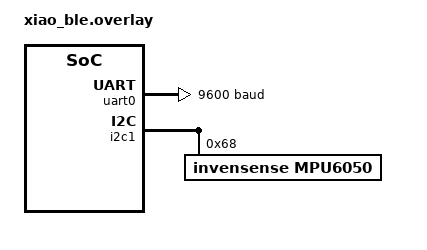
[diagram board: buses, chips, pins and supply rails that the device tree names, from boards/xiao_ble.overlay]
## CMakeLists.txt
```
#
# Reconfigurable swarm module — OpenThread + CoAP swarm overlay.
#
# SPDX-License-Identifier: LicenseRef-Nordic-5-Clause
#

cmake_minimum_required(VERSION 3.20.0)

find_package(Zephyr REQUIRED HINTS $ENV{ZEPHYR_BASE})

project(swarm_node)

FILE(GLOB app_sources src/*.c)
target_sources(app PRIVATE ${app_sources})

# The shared wire-protocol header lives one level up so the host-side Python
# codec (proto/swarm_proto.py) and this firmware stay in lockstep.
target_include_directories(app PRIVATE src ${CMAKE_CURRENT_SOURCE_DIR}/../proto)
```

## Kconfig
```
#
# Copyright (c) 2024 Nordic Semiconductor ASA
#
# SPDX-License-Identifier: LicenseRef-Nordic-5-Clause
#

menu "Zephyr Kernel"
source "Kconfig.zephyr"
endmenu

menu "Swarm node configuration"

config SWARM_NODE_NAME
	string "Module display name"
	default "swarm-node"
	help
	  Human-readable name shown in the Olympus command center.

config SWARM_ATTACHED_TO
	string "Vehicle this module is attached to"
	default ""
	help
	  Vehicle id the module currently rides on. Empty means standalone.
	  Can be changed at runtime via the SET_MOUNT command.

config SWARM_FW_VERSION
	int "Firmware version reported in HELLO"
	default 1

config SWARM_ROLE_PROVIDER
	bool "Contributes sensor data to the swarm"
	default y

config SWARM_ROLE_CONSUMER
	bool "Consumes swarm information"
	default n

config SWARM_ROLE_RELAY
	bool "Relays traffic for neighbors"
	default y

config SWARM_MOUNT_VEHICLE
	bool "Mounted on a vehicle (else standalone)"
	default n

# --- capability / permission model (advertised in HELLO, see swarm_capability) ---
# Defaults make a vehicle "active" (autonomous + overridable) and a standalone
# module "passive" (transmits its sensors, accepts no action commands).

config SWARM_CAP_AUTONOMOUS
	bool "Active: runs decentralized mission policy on its Jetson"
	default y if SWARM_MOUNT_VEHICLE
	default n

config SWARM_CAP_OVERRIDABLE
	bool "Active: accepts overriding action commands from a trusted leader"
	default y if SWARM_MOUNT_VEHICLE
	default n

config SWARM_CAP_PASSIVE_RX
	bool "Passive: receive-only swarm member (no action authority)"
	default y if !SWARM_MOUNT_VEHICLE && !SWARM_GATEWAY
	default n

config SWARM_CAP_BEACON_TX
	bool "Passive beacon / waypoint station (transmits its sensors only)"
	default n

config SWARM_CAP_RELAY_ONLY
	bool "Forwards traffic only (no sensing or acting)"
	default n

config SWARM_GATEWAY
	bool "Build as the command-station gateway"
	default n
	help
	  Bridge the mesh to the Olympus host over serial instead of acting as a
	  swarm member. Forwards every received module message to the host and
	  injects route/cmd downlink back into the mesh.

config SWARM_FORWARD_PEERS
	bool "Forward peer telemetry to the Jetson (for peer-range fusion)"
	default y if !SWARM_GATEWAY
	default n
	help
	  A plain node mirrors the peer HELLO/TELEMETRY it hears on the mesh to its
	  Jetson (tagged RELAYED so the agent never mistakes them for its own), so
	  the Jetson EKF can use nearby peers (<= 50 m) as range constraints. Costs a
	  little serial bandwidth; harmless if the node has no Jetson.

config SWARM_LEADER
	bool "Build as the base-station leader"
	default n
	help
	  The leader is a gateway that ALSO senses (its own GPS/IMU EKF, as a fleet
	  position anchor) and can broadcast override commands fleet-wide. Implies
	  gateway bridging; additionally announces/streams telemetry and tags its
	  frames SWARM_FLAG_LEADER so overridable nodes accept its commands. Enable
	  together with SWARM_GATEWAY (see overlay-leader.conf).

endmenu

module = SWARM_NODE
module-str = Swarm node
source "$(ZEPHYR_BASE)/subsys/logging/Kconfig.template.log_config"
```

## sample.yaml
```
sample:
  description: Reconfigurable swarm module with Olympus CoAP overlay
  name: Olympus Swarm Node

tests:
  sample.swarm.node:
    sysbuild: true
    build_only: true
    tags:
      - ci_build
      - sysbuild
      - ci_samples_openthread
    platform_allow:
      - nrf52840dk/nrf52840
      - xiao_ble
    integration_platforms:
      - nrf52840dk/nrf52840
  sample.swarm.gateway:
    sysbuild: true
    build_only: true
    extra_args: >
      EXTRA_CONF_FILE="overlay-gateway.conf"
    tags:
      - ci_build
      - sysbuild
      - ci_samples_openthread
    platform_allow:
      - nrf52840dk/nrf52840
      - xiao_ble
    integration_platforms:
      - nrf52840dk/nrf52840
```

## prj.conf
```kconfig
#
# Reconfigurable swarm module — base configuration (plain node).
#
# For the command-station gateway, add the overlay:
#   west build -b xiao_ble . -- -DEXTRA_CONF_FILE=overlay-gateway.conf
#
# SPDX-License-Identifier: LicenseRef-Nordic-5-Clause
#

# --- OpenThread mesh (same network as the original coap samples) ---
CONFIG_OPENTHREAD=y
CONFIG_OPENTHREAD_COAP=y
CONFIG_OPENTHREAD_FTD=y
CONFIG_OPENTHREAD_NETWORKKEY="00:11:22:33:44:55:66:77:88:99:aa:bb:cc:dd:ee:ff"
CONFIG_NETWORKING=y
CONFIG_NET_SOCKETS=y

# --- Shell / console / logs on SEGGER RTT, OFF the USB data channel ---
# The single USB CDC ACM port is the swarm data link (binary frames), so the ot
# shell + console + logs move to RTT (view with an SWD probe). This mirrors the
# proven coap_server config on this NCS; the board's USB device_next stack
# auto-enables the CDC at boot, so the firmware never calls usb_enable() itself.
CONFIG_SHELL=y
CONFIG_OPENTHREAD_SHELL=y
CONFIG_SHELL_ARGC_MAX=26
CONFIG_SHELL_CMD_BUFF_SIZE=416
CONFIG_SHELL_BACKEND_SERIAL=n
CONFIG_SHELL_BACKEND_RTT=y
CONFIG_USE_SEGGER_RTT=y
CONFIG_LOG=y
CONFIG_LOG_PRINTK=y
CONFIG_UART_CONSOLE=n
CONFIG_LOG_BACKEND_UART=n

# --- nRF board library (LEDs / buttons) ---
CONFIG_DK_LIBRARY=y

# --- modular sensor stack (probed at boot; absent parts degrade gracefully) ---
# The IMU is auto-detected at runtime (sensors.c): an MPU-6050 (via the Zephyr
# driver below, 0x68) OR a BNO055 (0x28, read by src/bno055.c over direct I2C —
# NCS ships no BNO055 driver). Both can stay wired; the firmware uses whichever
# answers. Keep CONFIG_MPU6050 for the MPU path; the BNO055 needs only CONFIG_I2C.
CONFIG_SENSOR=y
CONFIG_I2C=y
CONFIG_MPU6050=y          # Adafruit MPU-6050 6-DoF IMU (invensense,mpu6050 @ 0x68)
CONFIG_SERIAL=y
CONFIG_UART_INTERRUPT_DRIVEN=y

# --- USB-CDC data link to the Jetson / Olympus host (board_cdc_acm_uart) ---
# The board's defconfig selects the modern USB device_next stack and enables the
# single CDC ACM instance at boot; we just make the class explicit + line control.
CONFIG_USB_DEVICE_STACK_NEXT=y
CONFIG_USBD_CDC_ACM_CLASS=y
CONFIG_UART_LINE_CTRL=y
CONFIG_CDC_ACM_SERIAL_PRODUCT_STRING="Olympus Swarm Node"
CONFIG_RING_BUFFER=y

# --- runtime knobs used by the cmd channel ---
CONFIG_REBOOT=y

# --- floating point for ranging / dead-reckoning math + log formatting ---
CONFIG_FPU=y
CONFIG_CBPRINTF_FP_SUPPORT=y

# --- stacks / storage sized for networking ---
CONFIG_MAIN_STACK_SIZE=4096
CONFIG_PM_PARTITION_SIZE_SETTINGS_STORAGE=0x8000
CONFIG_MBEDTLS_SHA1_C=n

# --- give the host 5 s to enumerate the USB CDC port after reset ---
CONFIG_BOOT_DELAY=5000
```

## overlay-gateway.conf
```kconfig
#
# Command-station gateway overlay.
#
# Flash this build onto the nRF wired to the Olympus host. It joins the same
# Thread mesh, hears every module's realm-local multicast, forwards it out the
# serial data link to olympus_link, and injects route/cmd downlink from the host
# back into the mesh. It does not announce itself as a swarm member.
#
#   west build -b xiao_ble . -- -DEXTRA_CONF_FILE=overlay-gateway.conf
#
# SPDX-License-Identifier: LicenseRef-Nordic-5-Clause
#

CONFIG_SWARM_GATEWAY=y
CONFIG_SWARM_NODE_NAME="gateway"
CONFIG_SWARM_ROLE_PROVIDER=n
CONFIG_SWARM_ROLE_CONSUMER=n
CONFIG_SWARM_ROLE_RELAY=y
```

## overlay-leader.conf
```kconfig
# Base-station leader build.
#
#   ./build.sh --leader
#
# The leader bridges the mesh to the Olympus host (like the gateway) AND carries
# its own GPS/IMU so it appears as a fleet position anchor, AND may broadcast
# override commands. It is infrastructure, not an overridable vehicle.

CONFIG_SWARM_GATEWAY=y
CONFIG_SWARM_LEADER=y

CONFIG_SWARM_NODE_NAME="leader"
CONFIG_SWARM_MOUNT_VEHICLE=n
CONFIG_SWARM_CAP_OVERRIDABLE=n
CONFIG_SWARM_CAP_AUTONOMOUS=n
CONFIG_SWARM_CAP_PASSIVE_RX=n
CONFIG_SWARM_FORWARD_PEERS=n
```

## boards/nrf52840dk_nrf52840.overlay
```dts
/*
 * nRF52840 DK — swarm module wiring.
 *
 * The DK's console/shell stays on the on-board UART (J-Link VCOM). This overlay
 * adds a USB CDC-ACM function as the dedicated swarm data link to the Jetson
 * (agent) or the Olympus host (gateway): /dev/ttyACM* after flashing.
 *
 * Sensor nodes are modular; uncomment to match the populated parts.
 *
 * SPDX-License-Identifier: LicenseRef-Nordic-5-Clause
 */

&zephyr_udc0 {
	cdc_acm_swarm: cdc_acm_swarm {
		compatible = "zephyr,cdc-acm-uart";
	};
};

/ {
	chosen {
		swarm,serial = &cdc_acm_swarm;
		/* swarm,imu = &lsm6dsl; */
		/* swarm,gps-uart = &uart1; */
	};
};

/* Example IMU on i2c0 (P0.26/P0.27 on the DK). Adjust to the real part.
&i2c0 {
	status = "okay";
	lsm6dsl: lsm6dsl@6a {
		compatible = "st,lsm6dsl";
		reg = <0x6a>;
	};
};
*/

/* Example GPS NMEA receiver on uart1.
&uart1 {
	status = "okay";
	current-speed = <9600>;
};
*/
```

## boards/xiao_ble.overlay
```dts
/*
 * Seeed XIAO nRF52840 — swarm module wiring.
 *
 * The board's single USB CDC-ACM (board_cdc_acm_uart, modern device_next stack,
 * auto-enabled at boot) is the swarm data link to the Jetson (node) or the
 * Olympus host (gateway/leader); the console/shell/logs ride SEGGER RTT (see
 * prj.conf), exactly like the proven coap_server. The GPS rides the hardware
 * UART (uart0 on D6/D7) and the IMU the I2C bus (i2c1 on D4/D5).
 *
 * Hardware on this build:
 *   - IMU: Adafruit MPU-6050 6-DoF (STEMMA QT / I2C) @ 0x68 on i2c1 (D4/D5).
 *   - GPS: Adafruit Ultimate GPS Breakout v3 (NMEA) @ 9600 on uart0 (D6/D7).
 * Absent sensors leave their HELLO bit clear and the EKF runs with fewer inputs.
 *
 * SPDX-License-Identifier: LicenseRef-Nordic-5-Clause
 */

/* GPS: Adafruit Ultimate GPS v3, NMEA over the hardware UART
 * (XIAO D7=RX/P1.12 <- GPS TX, D6=TX/P1.11 -> GPS RX). */
&uart0 {
	status = "okay";
	current-speed = <9600>;
};

/* IMU on the XIAO's D4/D5 (STEMMA QT) pins = i2c1 (SDA=P0.04/D4, SCL=P0.05/D5),
 * which the board already enables with pinctrl, so we just attach devices.
 *
 * sensors.c AUTO-DETECTS the IMU at boot, so both supported parts can stay wired
 * up and the firmware picks whichever actually answers:
 *   - MPU-6050  @ 0x68  (AD0 low) — bound by the Zephyr invensense,mpu6050 driver
 *   - BNO055    @ 0x28  (default) — read over direct I2C by bno055.c (no Zephyr
 *                                   driver exists), via the swarm,imu-i2c chosen
 * The MPU-6050 node below is harmless when absent: its driver init just fails and
 * device_is_ready() returns false, and auto-detect falls through to the BNO055. */
&i2c1 {
	mpu6050: mpu6050@68 {
		compatible = "invensense,mpu6050";
		reg = <0x68>;
		/* int-gpios = <&gpio0 N GPIO_ACTIVE_HIGH>;  // optional data-ready INT */
	};
};

/ {
	chosen {
		swarm,serial = &board_cdc_acm_uart;
		swarm,imu = &mpu6050;   /* MPU-6050 path (Zephyr sensor API)        */
		swarm,imu-i2c = &i2c1;  /* bus for direct-I2C IMUs (BNO055 @ 0x28)  */
		swarm,gps-uart = &uart0;
	};
};
```

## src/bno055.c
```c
/*
 * bno055.c — direct-I2C Bosch BNO055 driver (see bno055.h).
 *
 * The BNO055 has its own fusion MCU, so we let it do the 9-DoF fusion (NDOF)
 * and read back: LINEAR_ACCEL (gravity removed, m/s^2), GYRO (yaw rate), and the
 * EULER heading (absolute, magnetometer-corrected). Units are left at the chip
 * defaults (accel m/s^2, gyro dps, euler deg) and converted here so the math is
 * explicit. All register addresses are page 0.
 *
 * SPDX-License-Identifier: LicenseRef-Nordic-5-Clause
 */

#include <zephyr/kernel.h>
#include <zephyr/device.h>
#include <zephyr/devicetree.h>
#include <zephyr/drivers/i2c.h>
#include <zephyr/logging/log.h>

#include "bno055.h"

LOG_MODULE_REGISTER(swarm_bno055, CONFIG_SWARM_NODE_LOG_LEVEL);

#if DT_HAS_CHOSEN(swarm_imu_i2c)
#define HAVE_BUS 1
static const struct device *const bus = DEVICE_DT_GET(DT_CHOSEN(swarm_imu_i2c));
#else
#define HAVE_BUS 0
#endif

/* --- BNO055 register map (page 0) --- */
#define BNO_ADDR_PRIMARY    0x28
#define BNO_ADDR_ALT        0x29
#define REG_CHIP_ID         0x00
#define CHIP_ID_VAL         0xA0
#define REG_PAGE_ID         0x07
#define REG_GYR_DATA_X_LSB  0x14   /* 6 bytes: X,Y,Z int16 LE */
#define REG_EUL_HEAD_LSB    0x1A   /* 2 bytes: heading int16 LE */
#define REG_LIA_DATA_X_LSB  0x28   /* 6 bytes: X,Y,Z int16 LE */
#define REG_CALIB_STAT      0x35   /* SYS[7:6] GYR[5:4] ACC[3:2] MAG[1:0] */
#define REG_UNIT_SEL        0x3B
#define REG_OPR_MODE        0x3D
#define REG_PWR_MODE        0x3E
#define REG_SYS_TRIGGER     0x3F

#define OPR_CONFIGMODE      0x00
#define OPR_NDOF            0x0C
#define PWR_NORMAL          0x00

/* scaling (chip defaults) */
#define LIA_LSB_PER_MS2     100.0f   /* linear accel: 1 m/s^2 = 100 LSB */
#define GYR_LSB_PER_DPS     16.0f    /* gyro: 1 dps = 16 LSB            */
#define EUL_LSB_PER_DEG     16.0f    /* euler: 1 deg = 16 LSB           */
#define DEG2RAD             0.017453292519943295f

static uint8_t dev_addr;
static bool    ready;

#if HAVE_BUS
static int16_t le16(const uint8_t *p)
{
	return (int16_t)((uint16_t)p[0] | ((uint16_t)p[1] << 8));
}

static bool probe_addr(uint8_t addr)
{
	uint8_t id = 0;

	/* The BNO055 needs ~650 ms after power-on before CHIP_ID reads back; we
	 * boot well after that, but retry a few times to be safe. */
	for (int i = 0; i < 12; i++) {
		if (i2c_reg_read_byte(bus, addr, REG_CHIP_ID, &id) == 0 &&
		    id == CHIP_ID_VAL) {
			dev_addr = addr;
			return true;
		}
		k_msleep(50);
	}
	return false;
}
#endif /* HAVE_BUS */

bool bno055_init(void)
{
#if !HAVE_BUS
	return false;
#else
	if (!device_is_ready(bus)) {
		return false;
	}
	if (!probe_addr(BNO_ADDR_PRIMARY) && !probe_addr(BNO_ADDR_ALT)) {
		return false;
	}

	/* CONFIGMODE -> page 0, normal power, default units, NDOF fusion. */
	(void)i2c_reg_write_byte(bus, dev_addr, REG_OPR_MODE, OPR_CONFIGMODE);
	k_msleep(25);
	(void)i2c_reg_write_byte(bus, dev_addr, REG_PAGE_ID, 0x00);
	(void)i2c_reg_write_byte(bus, dev_addr, REG_PWR_MODE, PWR_NORMAL);
	k_msleep(10);
	(void)i2c_reg_write_byte(bus, dev_addr, REG_UNIT_SEL, 0x00); /* m/s^2, dps, deg */
	(void)i2c_reg_write_byte(bus, dev_addr, REG_SYS_TRIGGER, 0x00);
	k_msleep(10);
	(void)i2c_reg_write_byte(bus, dev_addr, REG_OPR_MODE, OPR_NDOF);
	k_msleep(25); /* CONFIG -> NDOF takes ~7 ms */

	ready = true;
	LOG_INF("BNO055 found @ 0x%02x, NDOF fusion mode", dev_addr);
	return true;
#endif
}

bool bno055_present(void)
{
	return ready;
}

bool bno055_read(struct bno055_sample *s)
{
#if !HAVE_BUS
	(void)s;
	return false;
#else
	uint8_t b[6];

	if (!ready) {
		return false;
	}
	s->ax = s->ay = s->gyro_z = 0.0f;
	s->heading_rad = 0.0f;
	s->heading_valid = false;
	s->mag_calib = 0;
	s->sys_calib = 0;

	/* linear acceleration (gravity removed), body X/Y */
	if (i2c_burst_read(bus, dev_addr, REG_LIA_DATA_X_LSB, b, 6) != 0) {
		return false;
	}
	s->ax = le16(&b[0]) / LIA_LSB_PER_MS2;
	s->ay = le16(&b[2]) / LIA_LSB_PER_MS2;

	/* gyro Z = yaw rate */
	if (i2c_burst_read(bus, dev_addr, REG_GYR_DATA_X_LSB, b, 6) != 0) {
		return false;
	}
	s->gyro_z = (le16(&b[4]) / GYR_LSB_PER_DPS) * DEG2RAD;

	/* absolute heading (Euler) — trustworthy once the magnetometer calibrates */
	if (i2c_burst_read(bus, dev_addr, REG_EUL_HEAD_LSB, b, 2) == 0) {
		s->heading_rad = (le16(&b[0]) / EUL_LSB_PER_DEG) * DEG2RAD;
		s->heading_valid = true;
	}

	/* calibration status: gate the heading update on a calibrated magnetometer */
	uint8_t cal = 0;
	if (i2c_reg_read_byte(bus, dev_addr, REG_CALIB_STAT, &cal) == 0) {
		s->mag_calib = cal & 0x03;
		s->sys_calib = (cal >> 6) & 0x03;
	}
	return true;
#endif
}
```

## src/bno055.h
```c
/*
 * bno055.h — minimal direct-I2C driver for the Bosch BNO055 9-DoF IMU.
 *
 * Zephyr/NCS ships no BNO055 driver (it's a fusion sensor with an onboard
 * Cortex-M0), so this talks to it directly over the chosen IMU I2C bus
 * (chosen { swarm,imu-i2c }). It runs the chip in NDOF fusion mode and reads
 * the gravity-free LINEAR acceleration + yaw rate the EKF wants, plus the
 * magnetometer-corrected absolute heading (a bonus the MPU-6050 cannot give).
 *
 * SPDX-License-Identifier: LicenseRef-Nordic-5-Clause
 */

#ifndef SWARM_BNO055_H__
#define SWARM_BNO055_H__

#include <stdbool.h>
#include <stdint.h>

/* One IMU sample, already normalised to the EKF's units/frame expectations. */
struct bno055_sample {
	float ax;            /* linear (gravity-free) body accel X, m/s^2  */
	float ay;            /* linear (gravity-free) body accel Y, m/s^2  */
	float gyro_z;        /* yaw rate, rad/s                            */
	float heading_rad;   /* absolute heading (compass, from North), rad */
	bool  heading_valid; /* the Euler heading read succeeded           */
	uint8_t mag_calib;   /* magnetometer calib 0..3 (heading trust)    */
	uint8_t sys_calib;   /* overall fusion calib 0..3                  */
};

/* Probe the chosen IMU I2C bus for a BNO055 (addr 0x28, then 0x29) and, if
 * found, configure it into NDOF fusion mode. Returns true on success. */
bool bno055_init(void);

/* True once bno055_init() has found and configured a chip. */
bool bno055_present(void);

/* Read one sample. Returns true on a clean I2C read, false otherwise. */
bool bno055_read(struct bno055_sample *s);

#endif /* SWARM_BNO055_H__ */
```

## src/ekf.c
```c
/*
 * ekf.c — loosely-coupled GPS+IMU EKF (planar core, 3D-ready). See ekf.h.
 *
 * Covariance is propagated with generic 5x5 matrix products (two ~125-mul
 * passes per predict — trivial for the M4F at <=200 Hz, and far less bug-prone
 * than a hand-expanded sparse form). Measurement updates are specialised to the
 * "H selects one or two states" case, which every measurement here fits, so the
 * gain reduces to a closed-form 1x1 / 2x2 solve with no general inverse.
 *
 * SPDX-License-Identifier: LicenseRef-Nordic-5-Clause
 */

#include <math.h>
#include <string.h>

#include "ekf.h"

#define MPD_LAT        111320.0f      /* meters per degree of latitude */
#define DEG2RAD        0.017453292f
#define RAD2DEG        57.29578f
#define PI_F           3.14159265f
#define TWO_PI_F       6.28318531f

/* Default tuning. */
#define Q_ACCEL_DEF    1.0f           /* (m/s^2)^2/s */
#define Q_GYRO_DEF     0.05f          /* (rad/s)^2/s */
#define R_GPS_VEL      0.25f          /* (m/s)^2, GPS velocity meas var */
#define R_GPS_HDG_DEG2 100.0f         /* deg^2, heading-from-course meas var */
#define ZUPT_R         0.01f          /* (m/s)^2, zero-velocity meas var */
#define GPS_VEL_HDG_MIN 0.7f          /* m/s; below this course is meaningless */
#define P_DIAG_MIN     1e-6f
#define CONVERGE_STD_M 10.0f

#define IDX(r, c) ((r) * EKF_NX + (c))

/* --- small helpers --- */

static float wrap_pi(float a)
{
	while (a > PI_F) {
		a -= TWO_PI_F;
	}
	while (a < -PI_F) {
		a += TWO_PI_F;
	}
	return a;
}

/* Re-symmetrise P and floor its diagonal to keep it positive in single precision. */
static void p_condition(struct ekf_state *s)
{
	float *P = s->P;

	for (int i = 0; i < EKF_NX; i++) {
		for (int j = i + 1; j < EKF_NX; j++) {
			float avg = 0.5f * (P[IDX(i, j)] + P[IDX(j, i)]);
			P[IDX(i, j)] = avg;
			P[IDX(j, i)] = avg;
		}
		if (P[IDX(i, i)] < P_DIAG_MIN) {
			P[IDX(i, i)] = P_DIAG_MIN;
		}
	}
}

/* o = a * b (5x5). o must not alias a or b. */
static void mat5_mul(float *o, const float *a, const float *b)
{
	for (int i = 0; i < EKF_NX; i++) {
		for (int j = 0; j < EKF_NX; j++) {
			float sum = 0.0f;
			for (int k = 0; k < EKF_NX; k++) {
				sum += a[IDX(i, k)] * b[IDX(k, j)];
			}
			o[IDX(i, j)] = sum;
		}
	}
}

/* o = a * b^T (5x5). o must not alias a or b. */
static void mat5_mul_abt(float *o, const float *a, const float *b)
{
	for (int i = 0; i < EKF_NX; i++) {
		for (int j = 0; j < EKF_NX; j++) {
			float sum = 0.0f;
			for (int k = 0; k < EKF_NX; k++) {
				sum += a[IDX(i, k)] * b[IDX(j, k)];
			}
			o[IDX(i, j)] = sum;
		}
	}
}

/* EKF update where H selects a single state component `idx`. */
static void update1(struct ekf_state *s, int idx, float z, float r, bool is_angle)
{
	float *P = s->P;
	float y = z - s->x[idx];

	if (is_angle) {
		y = wrap_pi(y);
	}
	float S = P[IDX(idx, idx)] + r;
	if (S < 1e-9f) {
		return;
	}
	float K[EKF_NX];
	for (int k = 0; k < EKF_NX; k++) {
		K[k] = P[IDX(k, idx)] / S;
	}
	for (int k = 0; k < EKF_NX; k++) {
		s->x[k] += K[k] * y;
	}
	float hp[EKF_NX];
	for (int c = 0; c < EKF_NX; c++) {
		hp[c] = P[IDX(idx, c)];
	}
	for (int rr = 0; rr < EKF_NX; rr++) {
		for (int c = 0; c < EKF_NX; c++) {
			P[IDX(rr, c)] -= K[rr] * hp[c];
		}
	}
	if (is_angle) {
		s->x[EKF_PSI] = wrap_pi(s->x[EKF_PSI]);
	}
	p_condition(s);
}

/* EKF update where H selects two state components (i, j). */
static void update2(struct ekf_state *s, int i, int j,
		    float z0, float z1, float r0, float r1)
{
	float *P = s->P;
	float y0 = z0 - s->x[i];
	float y1 = z1 - s->x[j];

	/* S = H P H^T + R (2x2). */
	float s00 = P[IDX(i, i)] + r0;
	float s01 = P[IDX(i, j)];
	float s10 = P[IDX(j, i)];
	float s11 = P[IDX(j, j)] + r1;
	float det = s00 * s11 - s01 * s10;
	if (fabsf(det) < 1e-9f) {
		return;
	}
	float invd = 1.0f / det;
	float si00 =  s11 * invd, si01 = -s01 * invd;
	float si10 = -s10 * invd, si11 =  s00 * invd;

	/* K = P H^T S^-1 (5x2); P H^T = columns i,j of P. */
	float K[EKF_NX][2];
	for (int k = 0; k < EKF_NX; k++) {
		float a = P[IDX(k, i)], b = P[IDX(k, j)];
		K[k][0] = a * si00 + b * si10;
		K[k][1] = a * si01 + b * si11;
	}
	for (int k = 0; k < EKF_NX; k++) {
		s->x[k] += K[k][0] * y0 + K[k][1] * y1;
	}
	/* P -= K (H P); H P = rows i,j of P. Snapshot them first. */
	float hpi[EKF_NX], hpj[EKF_NX];
	for (int c = 0; c < EKF_NX; c++) {
		hpi[c] = P[IDX(i, c)];
		hpj[c] = P[IDX(j, c)];
	}
	for (int rr = 0; rr < EKF_NX; rr++) {
		for (int c = 0; c < EKF_NX; c++) {
			P[IDX(rr, c)] -= K[rr][0] * hpi[c] + K[rr][1] * hpj[c];
		}
	}
	p_condition(s);
}

/* --- public API --- */

void ekf_init(struct ekf_state *s)
{
	memset(s, 0, sizeof(*s));
	float *P = s->P;
	/* Large initial position/heading uncertainty, modest velocity. */
	P[IDX(EKF_PN, EKF_PN)] = 1.0e6f;
	P[IDX(EKF_PE, EKF_PE)] = 1.0e6f;
	P[IDX(EKF_VN, EKF_VN)] = 25.0f;
	P[IDX(EKF_VE, EKF_VE)] = 25.0f;
	P[IDX(EKF_PSI, EKF_PSI)] = PI_F * PI_F;
	s->q_accel = Q_ACCEL_DEF;
	s->q_gyro = Q_GYRO_DEF;
	s->anchored = false;
	s->converged = false;
}

void ekf_set_anchor(struct ekf_state *s, double lat, double lon)
{
	s->lat0 = lat;
	s->lon0 = lon;
	s->mpd_lon = MPD_LAT * cosf((float)lat * DEG2RAD);
	s->x[EKF_PN] = 0.0f;
	s->x[EKF_PE] = 0.0f;
	/* Position now known to ~GPS accuracy at the anchor. */
	s->P[IDX(EKF_PN, EKF_PN)] = 25.0f;
	s->P[IDX(EKF_PE, EKF_PE)] = 25.0f;
	s->anchored = true;
	s->provisional = false;
}

void ekf_set_anchor_provisional(struct ekf_state *s, double lat, double lon)
{
	ekf_set_anchor(s, lat, lon);
	s->provisional = true;
	/* It's a placeholder, not a measurement: keep position uncertainty large
	 * (~1 km) so the reported quality is honestly "rough" and the first real
	 * GPS fix dominates. Velocity/heading carry on dead-reckoning from the IMU. */
	s->P[IDX(EKF_PN, EKF_PN)] = 1.0e6f;
	s->P[IDX(EKF_PE, EKF_PE)] = 1.0e6f;
}

void ekf_predict(struct ekf_state *s, const float accel_b[2], float gyro_z, float dt)
{
	if (dt <= 0.0f || dt > 0.5f) {
		return;
	}
	float psi = wrap_pi(s->x[EKF_PSI] + gyro_z * dt);
	float c = cosf(psi), sn = sinf(psi);
	float ax = accel_b[0], ay = accel_b[1];
	/* Rotate body accel into ENU (psi = CCW from East). */
	float aE = ax * c - ay * sn;
	float aN = ax * sn + ay * c;

	s->x[EKF_PN] += s->x[EKF_VN] * dt + 0.5f * aN * dt * dt;
	s->x[EKF_PE] += s->x[EKF_VE] * dt + 0.5f * aE * dt * dt;
	s->x[EKF_VN] += aN * dt;
	s->x[EKF_VE] += aE * dt;
	s->x[EKF_PSI] = psi;

	/* Jacobian F = I + couplings. d(aN)/dpsi = aE, d(aE)/dpsi = -aN. */
	float F[EKF_NX * EKF_NX];
	memset(F, 0, sizeof(F));
	for (int i = 0; i < EKF_NX; i++) {
		F[IDX(i, i)] = 1.0f;
	}
	F[IDX(EKF_PN, EKF_VN)] = dt;
	F[IDX(EKF_PE, EKF_VE)] = dt;
	F[IDX(EKF_PN, EKF_PSI)] = 0.5f * dt * dt * aE;
	F[IDX(EKF_PE, EKF_PSI)] = -0.5f * dt * dt * aN;
	F[IDX(EKF_VN, EKF_PSI)] = dt * aE;
	F[IDX(EKF_VE, EKF_PSI)] = -dt * aN;

	/* P = F P F^T + Q. */
	float FP[EKF_NX * EKF_NX];
	mat5_mul(FP, F, s->P);
	mat5_mul_abt(s->P, FP, F);

	/* Discrete white-noise acceleration model per axis + gyro on psi. */
	float qpp = s->q_accel * dt * dt * dt / 3.0f;
	float qpv = s->q_accel * dt * dt * 0.5f;
	float qvv = s->q_accel * dt;
	float *P = s->P;
	P[IDX(EKF_PN, EKF_PN)] += qpp;
	P[IDX(EKF_PN, EKF_VN)] += qpv;
	P[IDX(EKF_VN, EKF_PN)] += qpv;
	P[IDX(EKF_VN, EKF_VN)] += qvv;
	P[IDX(EKF_PE, EKF_PE)] += qpp;
	P[IDX(EKF_PE, EKF_VE)] += qpv;
	P[IDX(EKF_VE, EKF_PE)] += qpv;
	P[IDX(EKF_VE, EKF_VE)] += qvv;
	P[IDX(EKF_PSI, EKF_PSI)] += s->q_gyro * dt;

	p_condition(s);
}

void ekf_update_gps_pos(struct ekf_state *s, double lat, double lon, float std_m)
{
	if (!s->anchored) {
		ekf_set_anchor(s, lat, lon);
		return;
	}
	if (s->provisional) {
		/* First real GPS fix after a placeholder anchor: snap the origin to
		 * the true location (resets position to 0, drops provisional). The
		 * IMU-derived velocity/heading carry over. */
		ekf_set_anchor(s, lat, lon);
		return;
	}
	float pN = (float)((lat - s->lat0) * MPD_LAT);
	float pE = (float)((lon - s->lon0) * (double)s->mpd_lon);
	float r = std_m * std_m;
	update2(s, EKF_PN, EKF_PE, pN, pE, r, r);

	float pos_var = 0.5f * (s->P[IDX(EKF_PN, EKF_PN)] + s->P[IDX(EKF_PE, EKF_PE)]);
	s->converged = (pos_var < CONVERGE_STD_M * CONVERGE_STD_M);
}

void ekf_update_gps_vel(struct ekf_state *s, float speed_mps, float course_rad)
{
	/* course_rad is compass (CW from North): N=cos, E=sin. */
	float vN = speed_mps * cosf(course_rad);
	float vE = speed_mps * sinf(course_rad);
	update2(s, EKF_VN, EKF_VE, vN, vE, R_GPS_VEL, R_GPS_VEL);

	if (speed_mps > GPS_VEL_HDG_MIN) {
		float psi_meas = atan2f(vN, vE); /* math yaw, CCW from East */
		update1(s, EKF_PSI, psi_meas, R_GPS_HDG_DEG2 * DEG2RAD * DEG2RAD, true);
	}
}

void ekf_update_heading(struct ekf_state *s, float heading_compass_rad, float std_rad)
{
	/* compass (CW from North) -> math yaw psi (CCW from East): psi = pi/2 - h. */
	float psi_meas = wrap_pi(PI_F * 0.5f - heading_compass_rad);
	update1(s, EKF_PSI, psi_meas, std_rad * std_rad, true);
}

/* Scalar measurement update with H = [hN, hE, 0, 0, 0] (a single range/row that
 * touches pN and pE). P is symmetric, so the gain column (P H^T)[k] equals the
 * row (H P)[k] — computed once as HP. */
static void update_pn_pe_scalar(struct ekf_state *s, float hN, float hE,
				float y, float r)
{
	float *P = s->P;
	float HP[EKF_NX];

	for (int c = 0; c < EKF_NX; c++) {
		HP[c] = hN * P[IDX(EKF_PN, c)] + hE * P[IDX(EKF_PE, c)];
	}
	float S = hN * HP[EKF_PN] + hE * HP[EKF_PE] + r;
	if (S < 1e-9f) {
		return;
	}
	float K[EKF_NX];
	for (int k = 0; k < EKF_NX; k++) {
		K[k] = HP[k] / S;
	}
	for (int k = 0; k < EKF_NX; k++) {
		s->x[k] += K[k] * y;
	}
	for (int rr = 0; rr < EKF_NX; rr++) {
		for (int c = 0; c < EKF_NX; c++) {
			P[IDX(rr, c)] -= K[rr] * HP[c];
		}
	}
	p_condition(s);
}

void ekf_update_peer_range(struct ekf_state *s, double peer_lat, double peer_lon,
			   float range_m, float std_m)
{
	if (!s->anchored) {
		return;
	}
	/* Peer position in our ENU frame (same anchor/constants as everything else). */
	float peer_pN = (float)((peer_lat - s->lat0) * MPD_LAT);
	float peer_pE = (float)((peer_lon - s->lon0) * (double)s->mpd_lon);
	float dN = s->x[EKF_PN] - peer_pN;
	float dE = s->x[EKF_PE] - peer_pE;
	float h = sqrtf(dN * dN + dE * dE); /* predicted range */

	if (h < 0.5f) {
		return; /* coincident — unit vector (Jacobian) is ill-conditioned */
	}
	/* H = d(range)/dx = unit vector from the peer to us, on (pN, pE). */
	update_pn_pe_scalar(s, dN / h, dE / h, range_m - h, std_m * std_m);
}

void ekf_update_zupt(struct ekf_state *s)
{
	update2(s, EKF_VN, EKF_VE, 0.0f, 0.0f, ZUPT_R, ZUPT_R);
}

void ekf_get_fix(const struct ekf_state *s, double *lat, double *lon,
		 float *vn, float *ve, float *heading_deg,
		 float *pos_std_m, float *hdg_std_deg)
{
	if (lat) {
		*lat = s->lat0 + (double)s->x[EKF_PN] / MPD_LAT;
	}
	if (lon) {
		*lon = s->lon0 + (double)s->x[EKF_PE] / (double)s->mpd_lon;
	}
	if (vn) {
		*vn = s->x[EKF_VN];
	}
	if (ve) {
		*ve = s->x[EKF_VE];
	}
	if (heading_deg) {
		/* Math yaw (CCW from East) -> compass (CW from North). */
		float compass = 90.0f - s->x[EKF_PSI] * RAD2DEG;
		compass = fmodf(compass, 360.0f);
		if (compass < 0.0f) {
			compass += 360.0f;
		}
		*heading_deg = compass;
	}
	if (pos_std_m) {
		float v = 0.5f * (s->P[IDX(EKF_PN, EKF_PN)] + s->P[IDX(EKF_PE, EKF_PE)]);
		*pos_std_m = sqrtf(v);
	}
	if (hdg_std_deg) {
		*hdg_std_deg = sqrtf(s->P[IDX(EKF_PSI, EKF_PSI)]) * RAD2DEG;
	}
}
```

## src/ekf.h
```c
/*
 * ekf.h — loosely-coupled GPS+IMU extended Kalman filter for the swarm module.
 *
 * Planar (2D) core, 3D-ready. State is a local ENU frame anchored at the first
 * GPS fix, using the SAME meters-per-degree constants as the host
 * (olympus_link/localization.py _to_xy/_to_ll), so firmware, host, and Jetson
 * all agree on one frame.
 *
 *   x = [pN, pE, vN, vE, psi]
 *       pN,pE  position  (m, north / east)
 *       vN,vE  velocity  (m/s)
 *       psi    yaw        (rad, math convention: CCW from the East axis)
 *
 * IMU accel (body x=forward, y=left, gravity-compensated) and yaw rate drive the
 * prediction; GPS position and GPS course/speed are the measurements. GPS course
 * makes heading observable without a magnetometer. Altitude rides outside the
 * filter for now (straight from GPS/baro); ekf 3D adds pD/vD behind EKF_3D.
 *
 * All single-precision for the Cortex-M4F FPU.
 *
 * SPDX-License-Identifier: LicenseRef-Nordic-5-Clause
 */

#ifndef SWARM_EKF_H__
#define SWARM_EKF_H__

#include <stdbool.h>
#include <stdint.h>

#define EKF_NX 5
enum { EKF_PN = 0, EKF_PE = 1, EKF_VN = 2, EKF_VE = 3, EKF_PSI = 4 };

struct ekf_state {
	float   x[EKF_NX];
	float   P[EKF_NX * EKF_NX];   /* covariance, row-major */
	double  lat0, lon0;           /* ENU anchor (deg), set on first GPS fix */
	float   mpd_lon;              /* meters per degree of longitude at lat0  */
	bool    anchored;
	bool    provisional;          /* anchor is a placeholder (no GPS yet)     */
	bool    converged;            /* position 1-sigma below threshold        */
	int64_t last_ms;             /* last predict time, managed by the caller */
	/* tuning (process-noise PSDs) */
	float   q_accel;              /* (m/s^2)^2 per second                     */
	float   q_gyro;               /* (rad/s)^2 per second                     */
};

/* Initialise to an un-anchored state with default tuning. */
void ekf_init(struct ekf_state *s);

/* Force the ENU anchor (also done lazily by the first ekf_update_gps_pos). */
void ekf_set_anchor(struct ekf_state *s, double lat, double lon);

/* Anchor at a PLACEHOLDER origin (no GPS yet) so the node still reports a
 * position and dead-reckons from the IMU. The first real ekf_update_gps_pos
 * re-anchors at the true location. Position uncertainty is left large. */
void ekf_set_anchor_provisional(struct ekf_state *s, double lat, double lon);

/* Prediction: body horizontal accel (m/s^2), yaw rate (rad/s), dt (s). */
void ekf_predict(struct ekf_state *s, const float accel_b[2], float gyro_z, float dt);

/* GPS position update (deg, 1-sigma std in m). Auto-anchors on first call. */
void ekf_update_gps_pos(struct ekf_state *s, double lat, double lon, float std_m);

/* GPS velocity/course update (speed m/s, course rad = compass CW from North). */
void ekf_update_gps_vel(struct ekf_state *s, float speed_mps, float course_rad);

/* Absolute-heading update from a magnetometer-fused IMU (e.g. BNO055 NDOF).
 * heading is compass radians (CW from North); std is the 1-sigma in radians.
 * Makes heading observable even at a standstill — the MPU-6050 path cannot. */
void ekf_update_heading(struct ekf_state *s, float heading_compass_rad, float std_rad);

/* Peer-range update: a soft constraint that this module is range_m from a peer
 * at (peer_lat, peer_lon). std_m is the 1-sigma of the (RSSI/RTT) range. This is
 * the decentralized peer fusion — it runs on the nRF so even a Jetson-less module
 * folds in peers. Scalar measurement on (pN,pE); no-op until anchored. */
void ekf_update_peer_range(struct ekf_state *s, double peer_lat, double peer_lon,
			   float range_m, float std_m);

/* Zero-velocity update — call when the module is known to be stationary. */
void ekf_update_zupt(struct ekf_state *s);

/* Read out the fused fix: geodetic position, ENU velocity, compass heading
 * (deg, 0..360), and 1-sigma stds. Any out pointer may be NULL. */
void ekf_get_fix(const struct ekf_state *s, double *lat, double *lon,
		 float *vn, float *ve, float *heading_deg,
		 float *pos_std_m, float *hdg_std_deg);

static inline bool ekf_is_anchored(const struct ekf_state *s) { return s->anchored; }

#endif /* SWARM_EKF_H__ */
```

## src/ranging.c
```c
/*
 * Coarse ranging between modules — see ranging.h.
 *
 * SPDX-License-Identifier: LicenseRef-Nordic-5-Clause
 */

#include <zephyr/kernel.h>
#include <zephyr/logging/log.h>
#include <math.h>
#include <string.h>

#include <swarm_protocol.h>
#include "ranging.h"

LOG_MODULE_REGISTER(swarm_ranging, CONFIG_SWARM_NODE_LOG_LEVEL);

/* Log-distance path-loss model: rssi = tx_at_1m - 10*n*log10(d). Tuned loosely
 * for indoor/outdoor 2.4 GHz; the station treats these ranges as soft anyway. */
#define RSSI_AT_1M (-40.0)
#define PATH_LOSS_N 2.2

#define RANGE_TABLE_SIZE 32
struct range_entry {
	uint8_t eui[SWARM_EUI64_LEN];
	uint16_t rssi_range_cm;
	uint16_t rtt_range_cm;   /* 0 = none */
	int64_t updated_ms;
	int32_t lat_e7, lon_e7;  /* peer's last-known absolute position */
	bool has_pos;
	bool valid;
};
static struct range_entry table[RANGE_TABLE_SIZE];

#define PEER_GATE_CM 5000        /* 50 m fusion gate */
#define PEER_FRESH_MS 30000

static struct range_entry *slot_for(const uint8_t eui[8], bool create)
{
	struct range_entry *free_slot = NULL;

	for (int i = 0; i < RANGE_TABLE_SIZE; i++) {
		if (table[i].valid && memcmp(table[i].eui, eui, SWARM_EUI64_LEN) == 0) {
			return &table[i];
		}
		if (!table[i].valid && free_slot == NULL) {
			free_slot = &table[i];
		}
	}
	if (create && free_slot) {
		memset(free_slot, 0, sizeof(*free_slot));
		memcpy(free_slot->eui, eui, SWARM_EUI64_LEN);
		free_slot->valid = true;
		return free_slot;
	}
	return NULL;
}

static uint16_t rssi_to_cm(int8_t rssi)
{
	double d = pow(10.0, (RSSI_AT_1M - (double)rssi) / (10.0 * PATH_LOSS_N));
	if (d < 0.1) {
		d = 0.1;
	}
	if (d > 600.0) {
		d = 600.0;
	}
	return (uint16_t)(d * 100.0);
}

void swarm_ranging_init(void)
{
	memset(table, 0, sizeof(table));
}

void swarm_ranging_on_message(const uint8_t eui[8], const otIp6Address *src,
			      int8_t rssi)
{
	ARG_UNUSED(src);
	struct range_entry *e = slot_for(eui, true);

	if (!e) {
		return;
	}
	uint16_t cm = rssi_to_cm(rssi);

	/* Exponential smoothing to tame RSSI noise. */
	if (e->rssi_range_cm == 0) {
		e->rssi_range_cm = cm;
	} else {
		e->rssi_range_cm = (uint16_t)((e->rssi_range_cm * 3 + cm) / 4);
	}
	e->updated_ms = k_uptime_get();
}

void swarm_ranging_handle(const uint8_t *payload, uint16_t len,
			  const otIp6Address *src)
{
	ARG_UNUSED(src);
	if (len < SWARM_HDR_LEN) {
		return;
	}
	uint8_t msg_type = payload[2];
	const uint8_t *body = &payload[SWARM_HDR_LEN];
	uint16_t body_len = len - SWARM_HDR_LEN;

	if (msg_type == SWARM_MSG_RANGE_RESP && body_len >= 20) {
		/* body: initiator(8) t1 t2 t3. Range = c * (rtt - proc)/2. With no
		 * hardware timestamping this is dominated by MCU/stack latency, so
		 * it is only used when it beats the RSSI estimate's plausibility. */
		const uint8_t *initiator = &body[0];
		uint32_t t1, t2, t3;
		memcpy(&t1, &body[8], 4);
		memcpy(&t2, &body[12], 4);
		memcpy(&t3, &body[16], 4);
		uint32_t now = k_cycle_get_32();
		/* round-trip minus responder processing, in microseconds */
		int64_t rtt_us = (int64_t)((now - t1)) - (int64_t)((t3 - t2));
		if (rtt_us <= 0) {
			return;
		}
		double d_m = 299.792458 * (rtt_us / 1e6) / 2.0; /* m, c in m/us */
		if (d_m < 0 || d_m > 600) {
			return;
		}
		struct range_entry *e = slot_for(initiator, true);
		if (e) {
			e->rtt_range_cm = (uint16_t)(d_m * 100.0);
			e->updated_ms = k_uptime_get();
		}
	}
	/* RANGE_REQ handling (sending a RESP) is driven by swarm_coap's sender; a
	 * full two-way exchange is left to the node's work queue. */
}

uint16_t swarm_ranging_estimate_cm(const uint8_t eui[8])
{
	struct range_entry *e = slot_for(eui, false);

	if (!e) {
		return 0;
	}
	if ((k_uptime_get() - e->updated_ms) > 30000) {
		return 0; /* stale */
	}
	/* Prefer a fresh RTT measurement; otherwise the smoothed RSSI range. */
	if (e->rtt_range_cm) {
		return e->rtt_range_cm;
	}
	return e->rssi_range_cm;
}

void swarm_ranging_set_peer_pos(const uint8_t eui[8], int32_t lat_e7, int32_t lon_e7)
{
	struct range_entry *e = slot_for(eui, true);

	if (!e) {
		return;
	}
	e->lat_e7 = lat_e7;
	e->lon_e7 = lon_e7;
	e->has_pos = true;
	/* updated_ms is the RANGE freshness (set by swarm_ranging_on_message, which
	 * runs for this same received frame) — we intentionally do not touch it here,
	 * so fusion needs a peer that is BOTH a recent radio neighbor and positioned. */
}

int swarm_ranging_get_peers(struct swarm_peer_fix *out, int max)
{
	int n = 0;
	int64_t now = k_uptime_get();

	for (int i = 0; i < RANGE_TABLE_SIZE && n < max; i++) {
		struct range_entry *e = &table[i];
		uint16_t r;

		if (!e->valid || !e->has_pos) {
			continue;
		}
		if ((now - e->updated_ms) > PEER_FRESH_MS) {
			continue; /* range is stale */
		}
		r = e->rtt_range_cm ? e->rtt_range_cm : e->rssi_range_cm;
		if (r == 0 || r > PEER_GATE_CM) {
			continue; /* no range, or beyond the 50 m gate */
		}
		out[n].lat_e7 = e->lat_e7;
		out[n].lon_e7 = e->lon_e7;
		out[n].range_cm = r;
		n++;
	}
	return n;
}
```

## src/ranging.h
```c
/*
 * Coarse ranging between modules. The nRF52840 802.15.4 radio cannot measure
 * true time-of-flight, so range is estimated two ways and the better is kept:
 *   - RSSI path-loss: cheap, always available from any received message.
 *   - RTT: a /swm/rng request/response round trip, when both ends are awake.
 * The command station turns these per-neighbor ranges into absolute positions
 * by multilateration against GPS anchors.
 *
 * SPDX-License-Identifier: LicenseRef-Nordic-5-Clause
 */

#ifndef SWARM_RANGING_H__
#define SWARM_RANGING_H__

#include <stdint.h>
#include <openthread/ip6.h>

void swarm_ranging_init(void);

/* Fold a received message's RSSI into the RSSI-based range estimate for a peer. */
void swarm_ranging_on_message(const uint8_t eui[8], const otIp6Address *src,
			      int8_t rssi);

/* Handle an inbound RANGE_REQ/RANGE_RESP payload. */
void swarm_ranging_handle(const uint8_t *payload, uint16_t len,
			  const otIp6Address *src);

/* Best current range estimate to a peer, in centimeters (0 = unknown). */
uint16_t swarm_ranging_estimate_cm(const uint8_t eui[8]);

/* Record a peer's last-known absolute position (parsed from its telemetry),
 * keyed by the same EUI as its range — for the on-nRF peer-range fusion. */
void swarm_ranging_set_peer_pos(const uint8_t eui[8], int32_t lat_e7, int32_t lon_e7);

/* One in-range, positioned peer: its position + the current range estimate. */
struct swarm_peer_fix {
	int32_t  lat_e7;
	int32_t  lon_e7;
	uint16_t range_cm;
};

/* Fill `out` (up to `max`) with peers that have BOTH a fresh range <= 50 m and a
 * known position. Returns the count. The 50 m fusion gate lives here. */
int swarm_ranging_get_peers(struct swarm_peer_fix *out, int max);

#endif /* SWARM_RANGING_H__ */
```

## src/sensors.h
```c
/*
 * Modular sensor layer. Detects which sensors the current build actually has
 * (from devicetree), exposes that as the HELLO sensor bitmap, runs a GPS+IMU
 * EKF (see ekf.c) on a dedicated thread, and produces a telemetry snapshot with
 * the fused fix. Missing sensors degrade gracefully — their bits stay 0.
 *
 * SPDX-License-Identifier: LicenseRef-Nordic-5-Clause
 */

#ifndef SWARM_SENSORS_H__
#define SWARM_SENSORS_H__

#include <stdint.h>
#include <stdbool.h>

#define SWARM_MAX_READINGS 8

struct swarm_tlm_snapshot {
	uint8_t  status;        /* enum swarm_status      */
	uint8_t  pos_source;    /* enum swarm_pos_source  */
	int32_t  lat_e7;
	int32_t  lon_e7;
	int32_t  alt_cm;
	uint16_t heading_cdeg;
	uint8_t  battery_pct;
	uint8_t  pos_quality;
	/* Fused-kinematics trailer (EKF output). Sent only when has_kinematics. */
	bool     has_kinematics;
	int16_t  vel_n_cms;
	int16_t  vel_e_cms;
	uint16_t pos_std_cm;
	uint16_t hdg_std_cd;
	uint8_t  ekf_flags;     /* enum swarm_ekf_flag    */
	uint8_t  n_readings;
	struct {
		uint8_t channel;    /* enum swarm_channel */
		float   value;
	} readings[SWARM_MAX_READINGS];
};

/* Probe attached sensors, start the EKF thread; returns the sensor bitmap. */
uint16_t swarm_sensors_init(void);

/* Mesh-facing snapshot: the Jetson's injected pose while fresh, else the EKF. */
void swarm_sensors_read(struct swarm_tlm_snapshot *out);

/* Jetson-facing snapshot: ALWAYS the on-board EKF fix (no injected pose), so the
 * Jetson fuses an independent estimate rather than reading back its own injection. */
void swarm_sensors_read_own(struct swarm_tlm_snapshot *out);

/* Adopt a Jetson-computed fused pose (POSE_INJECT over the serial link). While
 * it stays fresh (SWARM_POSE_FRESH_MS) telemetry broadcasts this instead of the
 * on-board EKF fix; the EKF keeps running underneath as the fallback. */
void sensors_inject_pose(int32_t lat_e7, int32_t lon_e7, int32_t alt_cm,
			 uint16_t heading_cdeg, int16_t vel_n_cms, int16_t vel_e_cms,
			 uint16_t pos_std_cm, uint16_t hdg_std_cd, uint8_t src_flags);

/* Most recent battery percentage (also used by the HELLO descriptor). */
uint8_t sensors_battery_pct(void);

/* Blink the locate LED so an operator can find this module in the field. */
void sensors_identify(void);

#endif /* SWARM_SENSORS_H__ */
```

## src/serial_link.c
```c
/*
 * USB-CDC serial link to the companion computer.
 *
 * Wraps swarm payloads in COBS + CRC16 (CCITT-FALSE) framing, byte-for-byte
 * compatible with proto/swarm_proto.py. TX is interrupt driven through a ring
 * buffer so a stalled host never blocks the mesh. RX reassembles frames on the
 * 0x00 delimiter, verifies the CRC, and dispatches: the gateway forwards route/
 * cmd downlink into the mesh; a plain node applies them locally.
 *
 * The data port is a dedicated CDC-ACM instance chosen as `swarm,serial`, kept
 * separate from the console/shell port. If no such node exists (e.g. a board
 * without USB), the link compiles to a no-op so the node still runs standalone.
 *
 * SPDX-License-Identifier: LicenseRef-Nordic-5-Clause
 */

#include <zephyr/kernel.h>
#include <zephyr/device.h>
#include <zephyr/devicetree.h>
#include <zephyr/drivers/uart.h>
#include <zephyr/sys/ring_buffer.h>
#include <zephyr/logging/log.h>
#include <string.h>

#include <swarm_protocol.h>
#include "serial_link.h"
#include "swarm_coap.h"

LOG_MODULE_REGISTER(swarm_serial, CONFIG_SWARM_NODE_LOG_LEVEL);

#if DT_HAS_CHOSEN(swarm_serial)
#define HAVE_SERIAL 1
static const struct device *const ser = DEVICE_DT_GET(DT_CHOSEN(swarm_serial));
#else
#define HAVE_SERIAL 0
#endif

#if HAVE_SERIAL

RING_BUF_DECLARE(tx_rb, 1024);

static uint8_t rx_frame[SWARM_MAX_FRAME * 2 + 4];
static uint16_t rx_len;

/* --- COBS decode (mirror of swarm_proto.cobs_decode) --- */

static int cobs_decode(const uint8_t *in, uint16_t in_len,
		       uint8_t *out, uint16_t out_cap)
{
	uint16_t i = 0, o = 0;

	while (i < in_len) {
		uint8_t code = in[i++];
		if (code == 0) {
			return -1;
		}
		for (uint8_t k = 1; k < code; k++) {
			if (i >= in_len || o >= out_cap) {
				return -1;
			}
			out[o++] = in[i++];
		}
		if (code < 0xFF && i < in_len) {
			if (o >= out_cap) {
				return -1;
			}
			out[o++] = 0;
		}
	}
	return o;
}

static void dispatch_frame(const uint8_t *frame, uint16_t flen)
{
	uint8_t decoded[SWARM_MAX_FRAME + 2];
	int dlen = cobs_decode(frame, flen, decoded, sizeof(decoded));

	if (dlen < (int)(SWARM_HDR_LEN + 2)) {
		return;
	}
	uint16_t payload_len = dlen - 2;
	uint16_t crc_rx = (uint16_t)decoded[payload_len] |
			  ((uint16_t)decoded[payload_len + 1] << 8);
	if (swarm_crc16(decoded, payload_len) != crc_rx) {
		LOG_DBG("serial CRC mismatch");
		return;
	}

#if defined(CONFIG_SWARM_GATEWAY)
	/* Gateway: downlink route/cmd from the Olympus host into the mesh. */
	swarm_coap_send_downlink(decoded, payload_len);
#else
	/* Node: apply a route/cmd (or sensor injection) from the Jetson. */
	swarm_handle_payload(decoded, payload_len, NULL);
#endif
}

static void serial_isr(const struct device *dev, void *user_data)
{
	ARG_UNUSED(user_data);
	uint8_t c;

	if (!uart_irq_update(dev)) {
		return;
	}

	while (uart_irq_rx_ready(dev)) {
		if (uart_fifo_read(dev, &c, 1) != 1) {
			break;
		}
		if (c == 0x00) {
			if (rx_len > 0) {
				dispatch_frame(rx_frame, rx_len);
			}
			rx_len = 0;
		} else if (rx_len < sizeof(rx_frame)) {
			rx_frame[rx_len++] = c;
		} else {
			rx_len = 0; /* overrun — resync on next delimiter */
		}
	}

	while (uart_irq_tx_ready(dev)) {
		uint8_t byte;
		if (ring_buf_get(&tx_rb, &byte, 1) != 1) {
			uart_irq_tx_disable(dev);
			break;
		}
		uart_fifo_fill(dev, &byte, 1);
	}
}

int serial_link_init(void)
{
	if (!device_is_ready(ser)) {
		LOG_WRN("serial data port not ready");
		return -1;
	}
	/* The modern USB device_next stack enables the CDC at boot (board config),
	 * so we don't call usb_enable() — just attach to the CDC-ACM UART. */
	uart_irq_callback_user_data_set(ser, serial_isr, NULL);
	uart_irq_rx_enable(ser);
	LOG_INF("serial data link up on %s", ser->name);
	return 0;
}

void serial_link_send(const uint8_t *payload, uint16_t len)
{
	uint8_t body[SWARM_MAX_FRAME + 2];
	uint8_t framed[SWARM_MAX_FRAME + 8];
	uint16_t code_idx, code, n = 0;

	if (len > SWARM_MAX_FRAME) {
		return;
	}
	/* body = payload || crc16_le */
	memcpy(body, payload, len);
	uint16_t crc = swarm_crc16(payload, len);
	body[len] = crc & 0xFF;
	body[len + 1] = crc >> 8;
	uint16_t body_len = len + 2;

	/* COBS encode (mirror of swarm_proto.cobs_encode). */
	code_idx = n;
	framed[n++] = 0;
	code = 1;
	for (uint16_t i = 0; i < body_len; i++) {
		if (body[i] == 0) {
			framed[code_idx] = code;
			code_idx = n;
			framed[n++] = 0;
			code = 1;
		} else {
			framed[n++] = body[i];
			if (++code == 0xFF) {
				framed[code_idx] = code;
				code_idx = n;
				framed[n++] = 0;
				code = 1;
			}
		}
	}
	framed[code_idx] = code;
	framed[n++] = 0x00; /* delimiter */

	if (ring_buf_put(&tx_rb, framed, n) < n) {
		LOG_DBG("serial TX overflow, dropping frame");
	}
	uart_irq_tx_enable(ser);
}

#else /* !HAVE_SERIAL */

int serial_link_init(void)
{
	LOG_INF("no serial data port configured (standalone build)");
	return 0;
}

void serial_link_send(const uint8_t *payload, uint16_t len)
{
	ARG_UNUSED(payload);
	ARG_UNUSED(len);
}

#endif /* HAVE_SERIAL */
```

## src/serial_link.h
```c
/*
 * USB-CDC serial link to the companion computer (Jetson on an agent, or the
 * Olympus host on the gateway). Frames are COBS + CRC16 wrapped swarm payloads,
 * matching proto/swarm_proto.py on the host side.
 *
 * SPDX-License-Identifier: LicenseRef-Nordic-5-Clause
 */

#ifndef SWARM_SERIAL_LINK_H__
#define SWARM_SERIAL_LINK_H__

#include <stdint.h>

/* Bring up the CDC-ACM data port. Returns 0 on success. */
int serial_link_init(void);

/* Frame and transmit a raw protocol payload (header + body) to the host. */
void serial_link_send(const uint8_t *payload, uint16_t len);

#endif /* SWARM_SERIAL_LINK_H__ */
```

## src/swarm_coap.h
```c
/*
 * CoAP overlay for the reconfigurable swarm: resource registration, the
 * periodic announce/telemetry/neighbor senders, and the unicast downlink
 * (route/cmd) used by the gateway build.
 *
 * SPDX-License-Identifier: LicenseRef-Nordic-5-Clause
 */

#ifndef SWARM_COAP_H__
#define SWARM_COAP_H__

#include <stdint.h>
#include <openthread/ip6.h>

/* Register the swarm CoAP resources and start the CoAP service. */
int swarm_coap_init(void);

/* Periodic senders (called from the main work queue on timer expiry). */
void swarm_coap_send_hello(void);
void swarm_coap_send_telemetry(void);
void swarm_coap_send_neighbors(void);

/* Dispatch a raw protocol payload (header + body). `src` is the sender's IPv6
 * address (NULL when the payload arrived over the serial link). Shared by the
 * CoAP handlers and the gateway's serial RX path. */
void swarm_handle_payload(const uint8_t *buf, uint16_t len,
			  const otIp6Address *src);

/* Gateway downlink: send a route/cmd payload to a specific module by EUI64,
 * resolving the destination from the learned EUI->IPv6 table. */
void swarm_coap_send_downlink(const uint8_t *payload, uint16_t len);

#endif /* SWARM_COAP_H__ */
```
